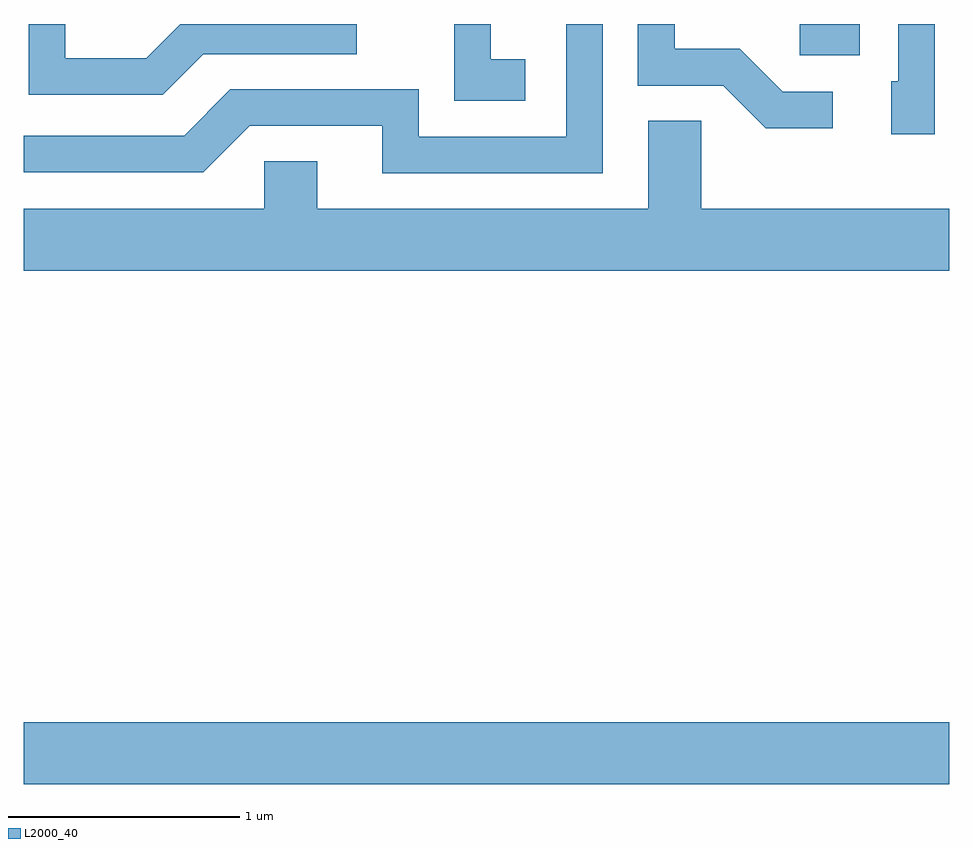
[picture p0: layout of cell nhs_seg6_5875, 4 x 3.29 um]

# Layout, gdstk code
import gdstk
lib = gdstk.Library(unit=1e-6, precision=1e-09)
def R(c, l, rs):  # rectangles x0, y0, x1, y1
    for r in rs: c.add(gdstk.rectangle(r[:2], r[2:], *l))
def P(c, l, *ps):  # polygons
    for p in ps: c.add(gdstk.Polygon(p, *l))
L2000_40 = (2000, 40)

nhs_seg6_5875 = lib.new_cell('nhs_seg6_5875')
R(nhs_seg6_5875, L2000_40, [(363.611,1598.876,367.611,1599.144), (366.966,1602.026,367.224,1602.162)])
P(nhs_seg6_5875, L2000_40, [(364.387,1602.031),(365.049,1602.031),(365.049,1602.162),(364.287,1602.162),(364.139,1602.014),(363.789,1602.014),(363.789,1602.162),(363.631,1602.162),(363.631,1601.856),(364.212,1601.856)],
  [(366.114,1602.162),(365.956,1602.162),(365.956,1601.674),(365.319,1601.674),(365.319,1601.879),(364.504,1601.879),(364.304,1601.679),(363.611,1601.679),(363.611,1601.521),(364.387,1601.521),(364.587,1601.721),(365.161,1601.721),(365.161,1601.516),(366.114,1601.516)],
  [(367.549,1602.162),(367.391,1602.162),(367.391,1601.914),(367.361,1601.914),(367.361,1601.686),(367.549,1601.686)],
  [(367.108,1601.869),(366.892,1601.869),(366.707,1602.054),(366.424,1602.054),(366.424,1602.162),(366.266,1602.162),(366.266,1601.896),(366.634,1601.896),(366.819,1601.711),(367.108,1601.711)],
  [(365.779,1602.009),(365.629,1602.009),(365.629,1602.162),(365.471,1602.162),(365.471,1601.831),(365.779,1601.831)],
  [(367.611,1601.364),(366.539,1601.364),(366.539,1601.744),(366.311,1601.744),(366.311,1601.364),(364.879,1601.364),(364.879,1601.569),(364.651,1601.569),(364.651,1601.364),(363.611,1601.364),(363.611,1601.096),(367.611,1601.096)])

lib.write_gds('nhs_seg6_5875.gds')
